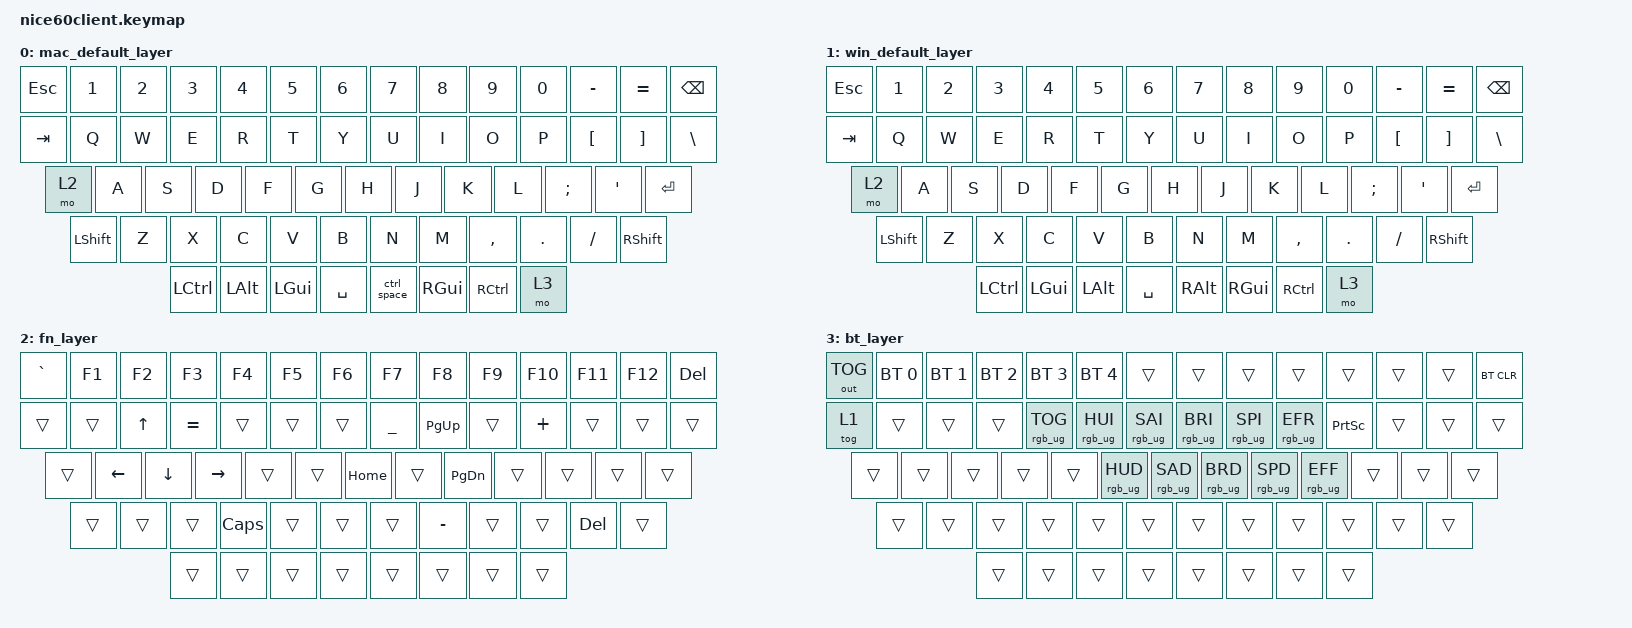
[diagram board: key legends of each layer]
/*
 * Copyright (c) 2021 Nick Winans
 *
 * SPDX-License-Identifier: MIT
 */

#include <behaviors.dtsi>
#include <dt-bindings/zmk/keys.h>
#include <dt-bindings/zmk/rgb.h>
#include <dt-bindings/zmk/bt.h>
#include <dt-bindings/zmk/outputs.h>
#include <dt-bindings/zmk/reset.h>
#include <dt-bindings/zmk/ext_power.h>

/ {
    macros {
        ctrl_space: ctrl_space {
            label = "ZM_ctrl_space";
            compatible = "zmk,behavior-macro";
            #binding-cells = <0>;
        wait-ms = <30>;
        tap-ms = <40>;
            bindings
                = <&macro_press &kp LCTRL>
                , <&macro_tap &kp SPACE>
                , <&macro_release &kp LCTRL>
                ;
        };
    };

    keymap {
        compatible = "zmk,keymap";
        
        mac_default_layer {
// ------------------------------------------------------------------------------------------
// | ESC |  1  |  2  |  3  |  4  |  5  |  6  |  7  |  8  |  9  |  0  |  -  |  =  |   BKSP   |
// | TAB  |  Q  |  W  |  E  |  R  |  T  |  Y  |  U  |  I  |  O  |  P  |  [  |  ]  |   "|"   |
// | MO(1) |  A  |  S  |  D  |  F  |  G  |  H  |  J  |  K  |  L  |  ;  |  '  |     ENTER    |
// |  SHIFT  |  Z  |  X  |  C  |  V  |  B  |  N  |  M  |  ,  |  .  |  /  |      SHIFT       |
// |  CTL  |  ALT  |  WIN  |            SPACE              |  ALT  |  WIN  |  CTL  |  MO(2) |
// ------------------------------------------------------------------------------------------
            bindings = <
    &kp ESC &kp N1 &kp N2 &kp N3 &kp N4 &kp N5 &kp N6 &kp N7 &kp N8 &kp N9 &kp N0 &kp MINUS &kp EQUAL  &kp BSPC
    &kp TAB  &kp Q  &kp W  &kp E  &kp R  &kp T  &kp Y  &kp U  &kp I  &kp O  &kp P  &kp LBKT  &kp RBKT  &kp BSLH
    &mo 2     &kp A  &kp S  &kp D  &kp F  &kp G  &kp H  &kp J  &kp K  &kp L  &kp SEMI &kp SQT           &kp RET
    &kp LSHFT  &kp Z  &kp X  &kp C  &kp V  &kp B  &kp N  &kp M  &kp COMMA &kp DOT &kp FSLH            &kp RSHFT
    &kp LCTRL &kp LALT &kp LGUI             &kp SPACE                      &ctrl_space &kp RGUI &kp RCTRL &mo 3
            >;
        };

        win_default_layer {
// ------------------------------------------------------------------------------------------
// | ESC |  1  |  2  |  3  |  4  |  5  |  6  |  7  |  8  |  9  |  0  |  -  |  =  |   BKSP   |
// | TAB  |  Q  |  W  |  E  |  R  |  T  |  Y  |  U  |  I  |  O  |  P  |  [  |  ]  |   "|"   |
// | MO(1) |  A  |  S  |  D  |  F  |  G  |  H  |  J  |  K  |  L  |  ;  |  '  |     ENTER    |
// |  SHIFT  |  Z  |  X  |  C  |  V  |  B  |  N  |  M  |  ,  |  .  |  /  |      SHIFT       |
// |  CTL  |  ALT  |  WIN  |            SPACE              |  ALT  |  WIN  |  CTL  |  MO(2) |
// ------------------------------------------------------------------------------------------
            bindings = <
    &kp ESC &kp N1 &kp N2 &kp N3 &kp N4 &kp N5 &kp N6 &kp N7 &kp N8 &kp N9 &kp N0 &kp MINUS &kp EQUAL  &kp BSPC
    &kp TAB  &kp Q  &kp W  &kp E  &kp R  &kp T  &kp Y  &kp U  &kp I  &kp O  &kp P  &kp LBKT  &kp RBKT  &kp BSLH
    &mo 2     &kp A  &kp S  &kp D  &kp F  &kp G  &kp H  &kp J  &kp K  &kp L  &kp SEMI &kp SQT           &kp RET
    &kp LSHFT  &kp Z  &kp X  &kp C  &kp V  &kp B  &kp N  &kp M  &kp COMMA &kp DOT &kp FSLH            &kp RSHFT
    &kp LCTRL &kp LGUI &kp LALT             &kp SPACE                        &kp RALT  &kp RGUI &kp RCTRL &mo 3
            >;
        };

        fn_layer {
// --------------------------------------------------------------------------------------------
// | BT CLR | F1  | F2  | F3  | F4  | F5  | F6  | F7  | F8  | F9  | F10 | F11 | F12 |   DEL   |
// |         |     |  UP |     | END |     |      |UNDER|PG_UP|     |PLUS |     |     |       |
// |          |  LT |  DN | RT  |     |     | HOME |     |PG_DN|     |     |     |            |
// |             |     |      | CAPS |     |     |     |     |     |     | DEL |              |
// |        |       |       |                                     |      |      |      |      |
// --------------------------------------------------------------------------------------------
            bindings = <
    &kp GRAVE &kp F1   &kp F2   &kp F3    &kp F4 &kp F5 &kp F6   &kp F7    &kp F8 &kp F9 &kp F10 &kp F11 &kp F12   &kp DEL
    &trans     &trans   &kp UP   &kp EQUAL &trans &trans &trans   &kp UNDER &kp PG_UP &trans &kp PLUS &trans &trans &trans 
    &trans      &kp LEFT &kp DOWN &kp RIGHT &trans &trans &kp HOME &trans    &kp PG_DN &trans &trans  &trans        &trans
    &trans       &trans   &trans   &kp CLCK  &trans &trans &trans   &kp MINUS &trans &trans &kp DEL                 &trans
    &trans &trans &trans                      &trans                           &trans       &trans      &trans      &trans
            >;
        };

        bt_layer {
// ------------------------------------------------------------------------------------------------
// | BT CLR | F1  | F2  | F3  | F4  | F5  | F6  | F7  | F8  | F9  | F10  | F11 | F12 |   BT_CLR   |
// |         |   |  UP |   | HUEUP | SATUP | BRIUP | SPDUP |   |     |    |     |     |           |
// |          | LT |  DN  | RT | HUEDN | SATDN | BRIDN | SPDDN |   |     |   |     |              |
// |             |     |      |      |     |     |     |     |     |     |     |                  |
// |         |      |      |             TOG RGB                |         |       |       |       |
// ------------------------------------------------------------------------------------------------
            bindings = <
    &out OUT_TOG &bt BT_SEL 0 &bt BT_SEL 1 &bt BT_SEL 2 &bt BT_SEL 3 &bt BT_SEL 4    &trans          &trans          &trans          &trans          &trans          &trans &trans &bt BT_CLR
    &tog 1        &trans       &trans       &trans       &rgb_ug RGB_TOG &rgb_ug RGB_HUI &rgb_ug RGB_SAI &rgb_ug RGB_BRI &rgb_ug RGB_SPI &rgb_ug RGB_EFR &kp PSCRN &trans    &trans    &trans
    &trans         &trans       &trans       &trans       &trans          &rgb_ug RGB_HUD &rgb_ug RGB_SAD &rgb_ug RGB_BRD &rgb_ug RGB_SPD &rgb_ug RGB_EFF &trans          &trans       &trans
    &trans          &trans       &trans       &trans       &trans       &trans          &trans          &trans          &trans          &trans          &trans                         &trans
    &trans  &trans   &trans                                              &trans                                            &trans               &trans              &trans             &trans
            >;
        };
    };
};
